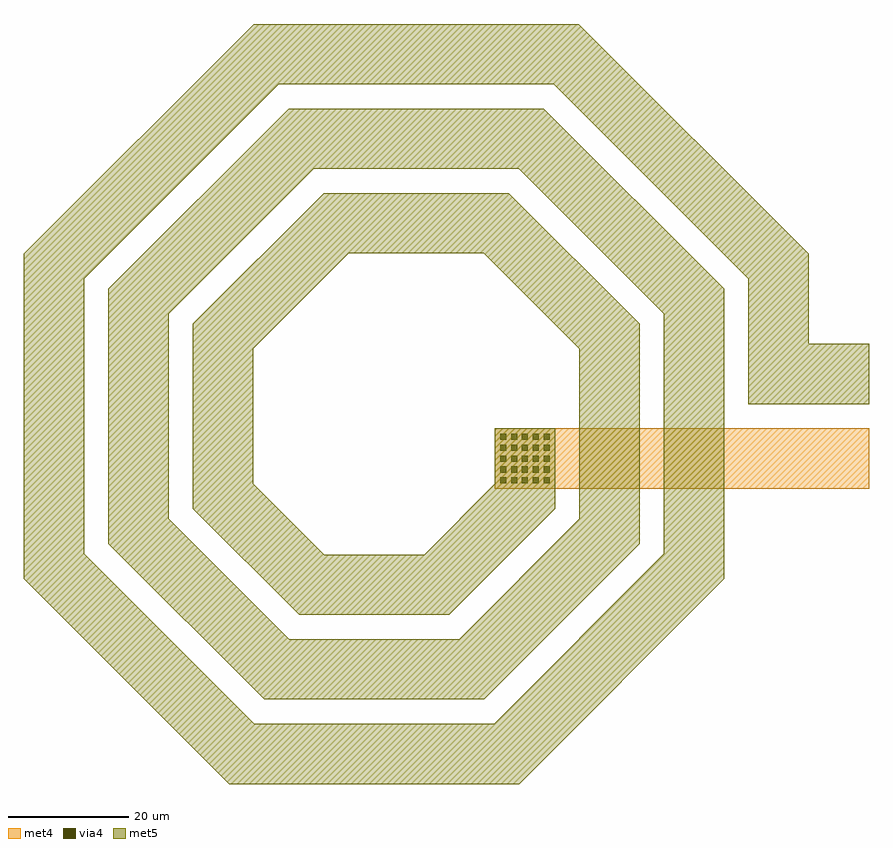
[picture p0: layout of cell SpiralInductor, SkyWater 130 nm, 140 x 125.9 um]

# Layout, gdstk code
import gdstk
lib = gdstk.Library(unit=1e-6, precision=1e-09)
def R(c, l, rs):  # rectangles x0, y0, x1, y1
    for r in rs: c.add(gdstk.rectangle(r[:2], r[2:], *l))
def A(c, l, x, y, w, h, nx, ny, dx, dy):  # array of equal rectangles
    R(c, l, [(x+i*dx, y+j*dy, x+i*dx+w, y+j*dy+h) for i in range(nx) for j in range(ny)])
def P(c, l, *ps):  # polygons
    for p in ps: c.add(gdstk.Polygon(p, *l))
met4 = (71, 20)
via4 = (71, 44)
met5 = (72, 20)

spiralinductor = lib.new_cell('SpiralInductor')
R(spiralinductor, met4, [(13,-12,75,-2)])
A(spiralinductor, via4, 13.899, -11.101, 1.002, 1.002, 5, 5, 1.8, 1.8)
P(spiralinductor, met5, [(75,12),(65,12),(65,26.924),(26.924,65),(-26.924,65),(-65,26.924),(-65,-26.924),(-31.024,-60.899),(17.024,-60.899),(51,-26.924),(51,21.125),(21.125,51),(-21.125,51),(-51,21.125),(-51,-21.125),(-25.225,-46.899),(11.225,-46.899),(37,-21.125),(37,15.326),(15.326,37),(-15.326,37),(-37,15.326),(-37,-15.326),(-19.426,-32.899),(5.426,-32.899),(23,-15.326),(23,-2),(13,-2),(13,-11.184),(1.284,-22.899),(-15.284,-22.899),(-27,-11.184),(-27,11.184),(-11.184,27),(11.184,27),(27,11.184),(27,-16.983),(7.083,-36.899),(-21.083,-36.899),(-41,-16.983),(-41,16.983),(-16.983,41),(16.983,41),(41,16.983),(41,-22.782),(12.882,-50.899),(-26.882,-50.899),(-55,-22.782),(-55,22.782),(-22.782,55),(22.782,55),(55,22.782),(55,2),(75,2)])

lib.write_gds('SpiralInductor.gds')
